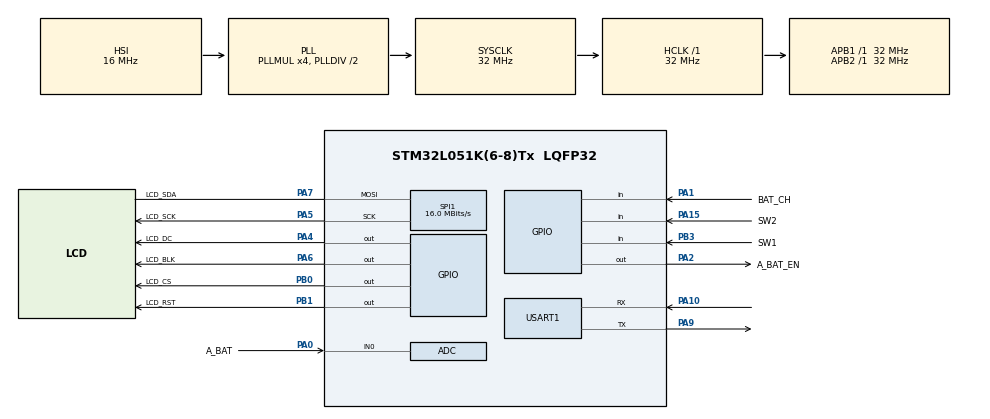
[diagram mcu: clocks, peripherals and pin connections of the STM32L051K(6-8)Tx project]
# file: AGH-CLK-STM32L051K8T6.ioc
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ADC.ClockPrescaler=ADC_CLOCK_ASYNC_DIV64
ADC.LowPowerAutoPowerOff=ENABLE
ADC.Overrun=ADC_OVR_DATA_OVERWRITTEN
ADC.SamplingTime=ADC_SAMPLETIME_160CYCLES_5
Dma.Request0=SPI1_TX
Dma.Request1=SPI1_RX
Dma.SPI1_RX.1.Direction=DMA_PERIPH_TO_MEMORY
Dma.SPI1_RX.1.Instance=DMA1_Channel2
Dma.SPI1_RX.1.MemDataAlignment=DMA_MDATAALIGN_WORD
Dma.SPI1_RX.1.MemInc=DMA_MINC_ENABLE
Dma.SPI1_RX.1.Mode=DMA_NORMAL
Dma.SPI1_RX.1.PeriphDataAlignment=DMA_PDATAALIGN_HALFWORD
Dma.SPI1_RX.1.PeriphInc=DMA_PINC_DISABLE
Dma.SPI1_RX.1.Priority=DMA_PRIORITY_LOW
Dma.SPI1_TX.0.Direction=DMA_MEMORY_TO_PERIPH
Dma.SPI1_TX.0.Instance=DMA1_Channel3
Dma.SPI1_TX.0.MemDataAlignment=DMA_MDATAALIGN_HALFWORD
Dma.SPI1_TX.0.MemInc=DMA_MINC_ENABLE
Dma.SPI1_TX.0.Mode=DMA_NORMAL
Dma.SPI1_TX.0.PeriphDataAlignment=DMA_PDATAALIGN_HALFWORD
Dma.SPI1_TX.0.PeriphInc=DMA_PINC_DISABLE
Dma.SPI1_TX.0.Priority=DMA_PRIORITY_LOW
Mcu.Family=STM32L0
Mcu.Name=STM32L051K(6-8)Tx
Mcu.Package=LQFP32
NVIC.DMA1_Channel2_3_IRQn=true\:0\:0\:false\:false\:true\:false\:true\:true
NVIC.RCC_IRQn=true\:0\:0\:true\:false\:true\:true\:false\:false
PA0.GPIO_Label=A_BAT
PA0.Mode=IN0
PA0.Signal=ADC_IN0
PA1.GPIO_Label=BAT_CH
PA1.Signal=GPIO_Input
PA10.Mode=Asynchronous
PA10.Signal=USART1_RX
PA13.Mode=Serial_Wire
PA13.Signal=SYS_SWDIO
PA14.Mode=Serial_Wire
PA14.Signal=SYS_SWCLK
PA15.GPIO_Label=SW2
PA15.Signal=GPIO_Input
PA2.GPIO_Label=A_BAT_EN
PA2.PinState=GPIO_PIN_SET
PA2.Signal=GPIO_Output
PA4.GPIO_Label=LCD_DC
PA4.GPIO_Speed=GPIO_SPEED_FREQ_VERY_HIGH
PA4.Signal=GPIO_Output
PA5.GPIO_Label=LCD_SCK
PA5.Mode=Simplex_Bidirectional_Master
PA5.Signal=SPI1_SCK
PA6.GPIO_Label=LCD_BLK
PA6.PinState=GPIO_PIN_SET
PA6.Signal=GPIO_Output
PA7.GPIO_Label=LCD_SDA
PA7.Mode=Simplex_Bidirectional_Master
PA7.Signal=SPI1_MOSI
PA9.Mode=Asynchronous
PA9.Signal=USART1_TX
PB0.GPIO_Label=LCD_CS
PB0.GPIO_Speed=GPIO_SPEED_FREQ_VERY_HIGH
PB0.Signal=GPIO_Output
PB1.GPIO_Label=LCD_RST
PB1.Signal=GPIO_Output
PB3.GPIO_Label=SW1
PB3.Signal=GPIO_Input
PC14-OSC32_IN.Mode=LSE-External-Oscillator
PC14-OSC32_IN.Signal=RCC_OSC32_IN
PC15-OSC32_OUT.Mode=LSE-External-Oscillator
PC15-OSC32_OUT.Signal=RCC_OSC32_OUT
ProjectManager.HeapSize=0x200
ProjectManager.StackSize=0x400
ProjectManager.TargetToolchain=STM32CubeIDE
RCC.ADCFreq_Value=16000000
RCC.AHBFreq_Value=32000000
RCC.APB1Freq_Value=32000000
RCC.APB1TimFreq_Value=32000000
RCC.APB2Freq_Value=32000000
RCC.APB2TimFreq_Value=32000000
RCC.HCLKFreq_Value=32000000
RCC.HSI16_VALUE=16000000
RCC.HSI_VALUE=16000000
RCC.MSIClockRange=RCC_MSIRANGE_6
RCC.MSI_VALUE=4194000
RCC.PLLMUL=RCC_PLLMUL_4
RCC.PWR_Regulator_Voltage_Scale=PWR_REGULATOR_VOLTAGE_SCALE1
RCC.RTCClockSelectionVirtual=RCC_RTCCLKSOURCE_LSE
RCC.SYSCLKFreq_VALUE=32000000
RCC.SYSCLKSource=RCC_SYSCLKSOURCE_PLLCLK
RCC.VCOOutputFreq_Value=64000000
RTC.Date=10
RTC.Format=RTC_FORMAT_BIN
RTC.Hours=0
RTC.Minutes=41
RTC.Seconds=55
RTC.WeekDay=RTC_WEEKDAY_TUESDAY
RTC.Year=23
SPI1.BaudRatePrescaler=SPI_BAUDRATEPRESCALER_2
SPI1.CLKPhase=SPI_PHASE_2EDGE
SPI1.CLKPolarity=SPI_POLARITY_HIGH
SPI1.CalculateBaudRate=16.0 MBits/s
SPI1.Direction=SPI_DIRECTION_1LINE
SPI1.Mode=SPI_MODE_MASTER
SPI1.VirtualType=VM_MASTER
USART1.VirtualMode-Asynchronous=VM_ASYNC
VP_RTC_VS_RTC_Activate.Mode=RTC_Enabled
VP_RTC_VS_RTC_Calendar.Mode=RTC_Calendar
board=custom

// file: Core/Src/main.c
/* USER CODE BEGIN Header */
/**
  ******************************************************************************
  * @file           : main.c
  * @brief          : Main program body
  ******************************************************************************
  * @attention
  *
  * Copyright (c) 2022 STMicroelectronics.
  * All rights reserved.
  *
  * This software is licensed under terms that can be found in the LICENSE file
  * in the root directory of this software component.
  * If no LICENSE file comes with this software, it is provided AS-IS.
  *
  ******************************************************************************
  */
/* USER CODE END Header */
#include "main.h"

/* USER CODE BEGIN Includes */
#include "lcd.h"
#include <math.h>
#include <stdio.h>
/* USER CODE END Includes */

/* USER CODE BEGIN PTD */
typedef struct
{
	UG_COLOR s_pri;
	UG_COLOR s_sec;
	UG_COLOR m_pri;
	UG_COLOR m_sec;
	UG_COLOR h_pri;
	UG_COLOR h_sec;
	UG_COLOR t_dig;
	UG_COLOR d_dig;
} COLOR_T;
/* USER CODE END PTD */

ADC_HandleTypeDef hadc;

RTC_HandleTypeDef hrtc;

SPI_HandleTypeDef hspi1;
DMA_HandleTypeDef hdma_spi1_tx;
DMA_HandleTypeDef hdma_spi1_rx;

UART_HandleTypeDef huart1;

/* USER CODE BEGIN PV */
WATCH_HAND_T watchHand[3][60];
RTC_TimeTypeDef time;
RTC_DateTypeDef date;
COLOR_T color;
uint8_t reloadCol;
KEYBOARD_T keyboard;
uint32_t measBat;
uint8_t measRequest;
MODE_T mode;

/* USER CODE END PV */

void SystemClock_Config(void);
static void MX_GPIO_Init(void);
static void MX_DMA_Init(void);
static void MX_ADC_Init(void);
static void MX_RTC_Init(void);
static void MX_SPI1_Init(void);
static void MX_USART1_UART_Init(void);
/* USER CODE BEGIN PFP */

//Display
void DrawHand(WATCH_HAND_T* h, uint16_t col);
void SetHandDisplay(WATCH_HAND_T* h, uint8_t pos, uint8_t cnt, uint16_t primCol, uint16_t secCol);
void RefreshClock();

//ADC
void GetBatteryMeas(uint32_t * meas, uint8_t *cond);

//Keyboard
uint8_t KeyPressed(uint8_t* key);
uint8_t KeyHolded(uint32_t* key, uint32_t time);
uint8_t KeysHolded(uint32_t time);

//RTC
void SetTimeDate();

//MISC
void InitHandsCoords();
void ChangeColor(UG_COLOR s_pri, UG_COLOR s_sec, UG_COLOR m_pri, UG_COLOR m_sec, UG_COLOR h_pri, UG_COLOR h_sec, UG_COLOR t_dig, UG_COLOR d_dig);
void SetColor();
void CheckRegularState();

/* USER CODE END PFP */

int main(void)
{

  /* MCU Configuration--------------------------------------------------------*/

  /* Reset of all peripherals, Initializes the Flash interface and the Systick. */
  HAL_Init();

  /* Configure the system clock */
  SystemClock_Config();

  /* Initialize all configured peripherals */
  MX_GPIO_Init();
  MX_DMA_Init();
  MX_ADC_Init();
  MX_RTC_Init();
  MX_SPI1_Init();
  MX_USART1_UART_Init();
  /* USER CODE BEGIN 2 */
  measRequest = 1;
  LCD_init();
  HAL_ADCEx_Calibration_Start(&hadc, ADC_SINGLE_ENDED);
  InitHandsCoords();
  /* USER CODE END 2 */

  /* Infinite loop */
  /* USER CODE BEGIN WHILE */
  while (1)
  {
	  HAL_RTC_GetTime(&hrtc, &time, RTC_FORMAT_BIN);
	  HAL_RTC_GetDate(&hrtc, &date, RTC_FORMAT_BIN);
	  GetBatteryMeas(&measBat, &measRequest);
	  SetColor();
	  RefreshClock();
	  SetTimeDate();
	  CheckRegularState();

    /* USER CODE END WHILE */

  }
}

void SystemClock_Config(void)
{
  RCC_OscInitTypeDef RCC_OscInitStruct = {0};
  RCC_ClkInitTypeDef RCC_ClkInitStruct = {0};
  RCC_PeriphCLKInitTypeDef PeriphClkInit = {0};

  /** Configure the main internal regulator output voltage
  */
  __HAL_PWR_VOLTAGESCALING_CONFIG(PWR_REGULATOR_VOLTAGE_SCALE1);

  /** Configure LSE Drive Capability
  */
  HAL_PWR_EnableBkUpAccess();
  __HAL_RCC_LSEDRIVE_CONFIG(RCC_LSEDRIVE_LOW);

  /** Initializes the RCC Oscillators according to the specified parameters
  * in the RCC_OscInitTypeDef structure.
  */
  RCC_OscInitStruct.OscillatorType = RCC_OSCILLATORTYPE_HSI|RCC_OSCILLATORTYPE_LSE;
  RCC_OscInitStruct.LSEState = RCC_LSE_ON;
  RCC_OscInitStruct.HSIState = RCC_HSI_ON;
  RCC_OscInitStruct.HSICalibrationValue = RCC_HSICALIBRATION_DEFAULT;
  RCC_OscInitStruct.PLL.PLLState = RCC_PLL_ON;
  RCC_OscInitStruct.PLL.PLLSource = RCC_PLLSOURCE_HSI;
  RCC_OscInitStruct.PLL.PLLMUL = RCC_PLLMUL_4;
  RCC_OscInitStruct.PLL.PLLDIV = RCC_PLLDIV_2;
  if (HAL_RCC_OscConfig(&RCC_OscInitStruct) != HAL_OK)
  {
    Error_Handler();
  }

  /** Initializes the CPU, AHB and APB buses clocks
  */
  RCC_ClkInitStruct.ClockType = RCC_CLOCKTYPE_HCLK|RCC_CLOCKTYPE_SYSCLK
                              |RCC_CLOCKTYPE_PCLK1|RCC_CLOCKTYPE_PCLK2;
  RCC_ClkInitStruct.SYSCLKSource = RCC_SYSCLKSOURCE_PLLCLK;
  RCC_ClkInitStruct.AHBCLKDivider = RCC_SYSCLK_DIV1;
  RCC_ClkInitStruct.APB1CLKDivider = RCC_HCLK_DIV1;
  RCC_ClkInitStruct.APB2CLKDivider = RCC_HCLK_DIV1;

  if (HAL_RCC_ClockConfig(&RCC_ClkInitStruct, FLASH_LATENCY_1) != HAL_OK)
  {
    Error_Handler();
  }
  PeriphClkInit.PeriphClockSelection = RCC_PERIPHCLK_USART1|RCC_PERIPHCLK_RTC;
  PeriphClkInit.Usart1ClockSelection = RCC_USART1CLKSOURCE_PCLK2;
  PeriphClkInit.RTCClockSelection = RCC_RTCCLKSOURCE_LSE;
  if (HAL_RCCEx_PeriphCLKConfig(&PeriphClkInit) != HAL_OK)
  {
    Error_Handler();
  }
}

static void MX_ADC_Init(void)
{

  ADC_ChannelConfTypeDef sConfig = {0};

  /** Configure the global features of the ADC (Clock, Resolution, Data Alignment and number of conversion)
  */
  hadc.Instance = ADC1;
  hadc.Init.OversamplingMode = DISABLE;
  hadc.Init.ClockPrescaler = ADC_CLOCK_ASYNC_DIV64;
  hadc.Init.Resolution = ADC_RESOLUTION_12B;
  hadc.Init.SamplingTime = ADC_SAMPLETIME_160CYCLES_5;
  hadc.Init.ScanConvMode = ADC_SCAN_DIRECTION_FORWARD;
  hadc.Init.DataAlign = ADC_DATAALIGN_RIGHT;
  hadc.Init.ContinuousConvMode = DISABLE;
  hadc.Init.DiscontinuousConvMode = DISABLE;
  hadc.Init.ExternalTrigConvEdge = ADC_EXTERNALTRIGCONVEDGE_NONE;
  hadc.Init.ExternalTrigConv = ADC_SOFTWARE_START;
  hadc.Init.DMAContinuousRequests = DISABLE;
  hadc.Init.EOCSelection = ADC_EOC_SINGLE_CONV;
  hadc.Init.Overrun = ADC_OVR_DATA_OVERWRITTEN;
  hadc.Init.LowPowerAutoWait = DISABLE;
  hadc.Init.LowPowerFrequencyMode = ENABLE;
  hadc.Init.LowPowerAutoPowerOff = ENABLE;
  if (HAL_ADC_Init(&hadc) != HAL_OK)
  {
    Error_Handler();
  }

  /** Configure for the selected ADC regular channel to be converted.
  */
  sConfig.Channel = ADC_CHANNEL_0;
  sConfig.Rank = ADC_RANK_CHANNEL_NUMBER;
  if (HAL_ADC_ConfigChannel(&hadc, &sConfig) != HAL_OK)
  {
    Error_Handler();
  }

}

static void MX_RTC_Init(void)
{

  RTC_TimeTypeDef sTime = {0};
  RTC_DateTypeDef sDate = {0};

  /** Initialize RTC Only
  */
  hrtc.Instance = RTC;
  hrtc.Init.HourFormat = RTC_HOURFORMAT_24;
  hrtc.Init.AsynchPrediv = 127;
  hrtc.Init.SynchPrediv = 255;
  hrtc.Init.OutPut = RTC_OUTPUT_DISABLE;
  hrtc.Init.OutPutRemap = RTC_OUTPUT_REMAP_NONE;
  hrtc.Init.OutPutPolarity = RTC_OUTPUT_POLARITY_HIGH;
  hrtc.Init.OutPutType = RTC_OUTPUT_TYPE_OPENDRAIN;
  if (HAL_RTC_Init(&hrtc) != HAL_OK)
  {
    Error_Handler();
  }

  /** Initialize RTC and set the Time and Date
  */
  sTime.Hours = 0;
  sTime.Minutes = 41;
  sTime.Seconds = 55;
  sTime.DayLightSaving = RTC_DAYLIGHTSAVING_NONE;
  sTime.StoreOperation = RTC_STOREOPERATION_RESET;
  if (HAL_RTC_SetTime(&hrtc, &sTime, RTC_FORMAT_BIN) != HAL_OK)
  {
    Error_Handler();
  }
  sDate.WeekDay = RTC_WEEKDAY_TUESDAY;
  sDate.Month = RTC_MONTH_JANUARY;
  sDate.Date = 10;
  sDate.Year = 23;

  if (HAL_RTC_SetDate(&hrtc, &sDate, RTC_FORMAT_BIN) != HAL_OK)
  {
    Error_Handler();
  }

}

static void MX_SPI1_Init(void)
{

  /* SPI1 parameter configuration*/
  hspi1.Instance = SPI1;
  hspi1.Init.Mode = SPI_MODE_MASTER;
  hspi1.Init.Direction = SPI_DIRECTION_1LINE;
  hspi1.Init.DataSize = SPI_DATASIZE_8BIT;
  hspi1.Init.CLKPolarity = SPI_POLARITY_HIGH;
  hspi1.Init.CLKPhase = SPI_PHASE_2EDGE;
  hspi1.Init.NSS = SPI_NSS_SOFT;
  hspi1.Init.BaudRatePrescaler = SPI_BAUDRATEPRESCALER_2;
  hspi1.Init.FirstBit = SPI_FIRSTBIT_MSB;
  hspi1.Init.TIMode = SPI_TIMODE_DISABLE;
  hspi1.Init.CRCCalculation = SPI_CRCCALCULATION_DISABLE;
  hspi1.Init.CRCPolynomial = 7;
  if (HAL_SPI_Init(&hspi1) != HAL_OK)
  {
    Error_Handler();
  }

}

static void MX_USART1_UART_Init(void)
{

  huart1.Instance = USART1;
  huart1.Init.BaudRate = 115200;
  huart1.Init.WordLength = UART_WORDLENGTH_8B;
  huart1.Init.StopBits = UART_STOPBITS_1;
  huart1.Init.Parity = UART_PARITY_NONE;
  huart1.Init.Mode = UART_MODE_TX_RX;
  huart1.Init.HwFlowCtl = UART_HWCONTROL_NONE;
  huart1.Init.OverSampling = UART_OVERSAMPLING_16;
  huart1.Init.OneBitSampling = UART_ONE_BIT_SAMPLE_DISABLE;
  huart1.AdvancedInit.AdvFeatureInit = UART_ADVFEATURE_NO_INIT;
  if (HAL_UART_Init(&huart1) != HAL_OK)
  {
    Error_Handler();
  }

}

static void MX_DMA_Init(void)
{

  /* DMA controller clock enable */
  __HAL_RCC_DMA1_CLK_ENABLE();

  /* DMA interrupt init */
  /* DMA1_Channel2_3_IRQn interrupt configuration */
  HAL_NVIC_SetPriority(DMA1_Channel2_3_IRQn, 0, 0);
  HAL_NVIC_EnableIRQ(DMA1_Channel2_3_IRQn);

}

static void MX_GPIO_Init(void)
{
  GPIO_InitTypeDef GPIO_InitStruct = {0};

  /* GPIO Ports Clock Enable */
  __HAL_RCC_GPIOC_CLK_ENABLE();
  __HAL_RCC_GPIOA_CLK_ENABLE();
  __HAL_RCC_GPIOB_CLK_ENABLE();

  /*Configure GPIO pin Output Level */
  HAL_GPIO_WritePin(GPIOA, A_BAT_EN_Pin|LCD_BLK_Pin, GPIO_PIN_SET);

  /*Configure GPIO pin Output Level */
  HAL_GPIO_WritePin(LCD_DC_GPIO_Port, LCD_DC_Pin, GPIO_PIN_RESET);

  /*Configure GPIO pin Output Level */
  HAL_GPIO_WritePin(GPIOB, LCD_CS_Pin|LCD_RST_Pin, GPIO_PIN_RESET);

  /*Configure GPIO pins : BAT_CH_Pin SW2_Pin */
  GPIO_InitStruct.Pin = BAT_CH_Pin|SW2_Pin;
  GPIO_InitStruct.Mode = GPIO_MODE_INPUT;
  GPIO_InitStruct.Pull = GPIO_NOPULL;
  HAL_GPIO_Init(GPIOA, &GPIO_InitStruct);

  /*Configure GPIO pins : A_BAT_EN_Pin LCD_BLK_Pin */
  GPIO_InitStruct.Pin = A_BAT_EN_Pin|LCD_BLK_Pin;
  GPIO_InitStruct.Mode = GPIO_MODE_OUTPUT_PP;
  GPIO_InitStruct.Pull = GPIO_NOPULL;
  GPIO_InitStruct.Speed = GPIO_SPEED_FREQ_LOW;
  HAL_GPIO_Init(GPIOA, &GPIO_InitStruct);

  /*Configure GPIO pin : LCD_DC_Pin */
  GPIO_InitStruct.Pin = LCD_DC_Pin;
  GPIO_InitStruct.Mode = GPIO_MODE_OUTPUT_PP;
  GPIO_InitStruct.Pull = GPIO_NOPULL;
  GPIO_InitStruct.Speed = GPIO_SPEED_FREQ_VERY_HIGH;
  HAL_GPIO_Init(LCD_DC_GPIO_Port, &GPIO_InitStruct);

  /*Configure GPIO pin : LCD_CS_Pin */
  GPIO_InitStruct.Pin = LCD_CS_Pin;
  GPIO_InitStruct.Mode = GPIO_MODE_OUTPUT_PP;
  GPIO_InitStruct.Pull = GPIO_NOPULL;
  GPIO_InitStruct.Speed = GPIO_SPEED_FREQ_VERY_HIGH;
  HAL_GPIO_Init(LCD_CS_GPIO_Port, &GPIO_InitStruct);

  /*Configure GPIO pin : LCD_RST_Pin */
  GPIO_InitStruct.Pin = LCD_RST_Pin;
  GPIO_InitStruct.Mode = GPIO_MODE_OUTPUT_PP;
  GPIO_InitStruct.Pull = GPIO_NOPULL;
  GPIO_InitStruct.Speed = GPIO_SPEED_FREQ_LOW;
  HAL_GPIO_Init(LCD_RST_GPIO_Port, &GPIO_InitStruct);

  /*Configure GPIO pin : SW1_Pin */
  GPIO_InitStruct.Pin = SW1_Pin;
  GPIO_InitStruct.Mode = GPIO_MODE_INPUT;
  GPIO_InitStruct.Pull = GPIO_NOPULL;
  HAL_GPIO_Init(SW1_GPIO_Port, &GPIO_InitStruct);

}

/* USER CODE BEGIN 4 */
void DrawHand(WATCH_HAND_T* h, uint16_t col)
{
	UG_DrawLine(h->x1, h->y1, h->x2, h->y2, col);
}

void SetHandDisplay(WATCH_HAND_T* h, uint8_t pos, uint8_t cnt, uint16_t primCol, uint16_t secCol)
{
	for(uint8_t i=60; i>60-cnt; i--)
	{
		uint16_t col = (pos+i) % 5 == 0 ? primCol : secCol;
		DrawHand(&h[(pos+i)%60], LCD_ColorOpacity(col, (60-i)>>1));
	}
}

void GetBatteryMeas(uint32_t * meas, uint8_t* cond)
{
	if (!*cond)
	{
		return;
	}
	HAL_GPIO_WritePin(A_BAT_EN_GPIO_Port, A_BAT_EN_Pin, 1);
	HAL_Delay(1);	//to avoid adc measure during transient state;
	HAL_ADC_Start(&hadc);
	HAL_ADC_PollForConversion(&hadc, HAL_MAX_DELAY);
	*meas = HAL_ADC_GetValue(&hadc) * VREF * ADC_V_DIV / ADC_DIV;
	HAL_GPIO_WritePin(A_BAT_EN_GPIO_Port, A_BAT_EN_Pin, 0);
	*cond = 0;
	return;
}

void InitHandsCoords()
{
	uint8_t i = 0, j = 0, z = 0;
	for(z=0; z<3; z++)
	{
		for(j=0; j<60; j++)
		{
			i = ((j % 5) == 0) ? 0 : 10;
			watchHand[z][j].x1 = 120 + (70+z*25)*sin((j%60)*2*M_PI/60);
			watchHand[z][j].y1 = 120 - (70+z*25)*cos((j%60)*2*M_PI/60);
			watchHand[z][j].x2 = 120 + (50+i+z*25)*sin((j%60)*2*M_PI/60);
			watchHand[z][j].y2 = 120 - (50+i+z*25)*cos((j%60)*2*M_PI/60);
		}
	}
}

void ChangeColor(UG_COLOR s_pri, UG_COLOR s_sec, UG_COLOR m_pri, UG_COLOR m_sec, UG_COLOR h_pri, UG_COLOR h_sec, UG_COLOR t_dig, UG_COLOR d_dig)
{
	color.s_pri = s_pri;
	color.s_sec = s_sec;
	color.m_pri = m_pri;
	color.m_sec = m_sec;
	color.h_pri = h_pri;
	color.h_sec = h_sec;
	color.t_dig = t_dig;
	color.d_dig = d_dig;
}

void SetColor()
{
	switch (mode)
	{
									   //sec_pri |sec_sec |min_pri |min_sec |hour_pri|hour_sec|time_dig|date_dig
		case regular:        ChangeColor(C_WHITE, C_BLUE,  C_WHITE, C_WHITE, C_WHITE, C_BLUE,  C_WHITE, C_WHITE); break;
		case reg_bat_low:    ChangeColor(C_WHITE, C_ORANGE,C_WHITE, C_WHITE, C_WHITE, C_ORANGE,C_WHITE, C_WHITE); break;
		case reg_discharged: ChangeColor(C_WHITE, C_RED,   C_WHITE, C_WHITE, C_WHITE, C_RED,   C_WHITE, C_WHITE); break;
		case reg_charging:   ChangeColor(C_WHITE, C_YELLOW,C_WHITE, C_WHITE, C_WHITE, C_YELLOW,C_WHITE, C_WHITE); break;
		case reg_bat_full:   ChangeColor(C_WHITE, C_GREEN, C_WHITE, C_WHITE, C_WHITE, C_GREEN, C_WHITE, C_WHITE); break;
		case set_hour:       ChangeColor(C_BLACK, C_BLACK, C_BLACK, C_BLACK, C_WHITE, C_WHITE, C_WHITE, C_BLACK); break;
		case set_minute:     ChangeColor(C_BLACK, C_BLACK, C_WHITE, C_WHITE, C_BLACK, C_BLACK, C_WHITE, C_BLACK); break;
		case set_second:     ChangeColor(C_WHITE, C_WHITE, C_BLACK, C_BLACK, C_BLACK, C_BLACK, C_WHITE, C_BLACK); break;
		case set_day:        ChangeColor(C_BLACK, C_BLACK, C_BLACK, C_BLACK, C_BLACK, C_BLACK, C_BLACK, C_WHITE); break;
		case set_month:      ChangeColor(C_BLACK, C_BLACK, C_BLACK, C_BLACK, C_BLACK, C_BLACK, C_BLACK, C_WHITE); break;
		case set_year:  	 ChangeColor(C_BLACK, C_BLACK, C_BLACK, C_BLACK, C_BLACK, C_BLACK, C_BLACK, C_WHITE); break;
	}
}

uint8_t KeyPressed(uint8_t* key)
{
	uint8_t t = *key;
	*key = 0;
	return t;
}

uint8_t KeyHolded(uint32_t* key, uint32_t time)
{
	uint8_t t = *key >= time ? 1 : 0;
	if (t) *key = 0;
	return t;
}

uint8_t KeysHolded(uint32_t time)
{
	static uint8_t t;
	t = 0;
	if(keyboard.l_hold >= time && keyboard.r_hold >= time)
	{
		keyboard.l_hold = 0;
		keyboard.r_hold = 0;
		t = 1;
	}
	return t;
}

void RefreshClock()
{
	static struct
	{
		uint8_t sec;
		uint8_t min;
		uint8_t hour;
		uint8_t day;
		uint8_t mth;
		uint8_t year;
	} change;

	static uint8_t hourPos;
	static RTC_TimeTypeDef time_old;
	static RTC_DateTypeDef date_old;
	static MODE_T mode_old;

	static char dateDisplay[9];
	static char timeDisplay[6];

	change.sec  = (time_old.Seconds == time.Seconds) ? 0 : 1;
	change.min  = (time_old.Minutes == time.Minutes) ? 0 : 1;
	change.hour = (time_old.Hours   == time.Hours)   ? 0 : 1;
	change.day  = (date_old.Date    == date.Date)    ? 0 : 1;
	change.mth  = (date_old.Month   == date.Month)   ? 0 : 1;
	change.year = (date_old.Year    == date.Year)    ? 0 : 1;

	if(mode_old != mode)
	{
		change.sec = 1;
		change.min = 1;
		change.hour = 1;
		change.day = 1;
		change.mth = 1;
		change.year = 1;
		mode_old = mode;
	}

	if (!(change.sec || change.min || change.hour || change.day || change.mth || change.year))
	{
		return;
	}

	hourPos = ((time.Hours%12)*5) + (time.Minutes/12);

	//fast reload - only one watch hand
	if (change.sec)
	{
		SetHandDisplay(watchHand[SEC], time.Seconds, 1, color.s_pri, color.s_sec);
	}
	if (change.min)
	{
		SetHandDisplay(watchHand[MIN], time.Minutes, 1, color.m_pri, color.m_sec);
	}
	if (change.hour)
	{
		SetHandDisplay(watchHand[HOUR], hourPos, 1, color.h_pri, color.h_sec);
	}

	if (change.min || change.hour)
	{
		sprintf(timeDisplay, "%02d:%02d", time.Hours, time.Minutes);
		LCD_PutStr(89, 95, timeDisplay, FONT_arial_25X28, LCD_ColorOpacity(color.t_dig, 7), C_BLACK);
	}
	if (change.day || change.mth || change.year)
	{
		sprintf(dateDisplay, "%02d.%02d.%02d", date.Date, date.Month, date.Year);
		LCD_PutStr(89, 130, dateDisplay, FONT_arial_16X18, LCD_ColorOpacity(color.d_dig, 5), C_BLACK);
	}

	//slow reload - rest of watch hands
	if (change.sec)
	{
		SetHandDisplay(watchHand[SEC], time.Seconds, 60, color.s_pri, color.s_sec);
	}
	if (change.min)
	{
		SetHandDisplay(watchHand[MIN], time.Minutes, 60, color.m_pri, color.m_sec);
	}
	if (change.hour)
	{
		SetHandDisplay(watchHand[HOUR], hourPos, 60, color.h_pri, color.h_sec);
	}

	time_old.Seconds = time.Seconds;
	time_old.Minutes = time.Minutes;
	time_old.Hours = time.Hours;
	date_old.Date = date.Date;
	date_old.Month = date.Month;
	date_old.Year = date.Year;

	return;
}

void SetTimeDate()
{
	static uint8_t* curr_p;
	static MODE_T mode_old;
	static uint8_t mod;
	static uint8_t setTimeFlag;
	static enum
	{
		hour,
		min,
		sec,
		day,
		month,
		year
	} num = hour;

	if (KeysHolded(100))
	{
		setTimeFlag = 1;
	}

	if (!setTimeFlag)
	{
		mode_old = mode;
		return;
	}

	switch(num)
	{
		case hour:  curr_p = &time.Hours;   mod = 24; break;
		case min:   curr_p = &time.Minutes; mod = 60; break;
		case sec:   curr_p = &time.Seconds; mod = 60; break;
		case day:   curr_p = &date.Date;    mod = 31; break;
		case month: curr_p = &date.Month;   mod = 12; break;
		case year:  curr_p = &date.Year;	mod = 99; break;
		default: curr_p = NULL;
	}

	if(*curr_p == 0)
	{
		*curr_p = mod;
	}
	*curr_p = (*curr_p + KeyPressed(&keyboard.l_press) - KeyPressed(&keyboard.r_press)) % mod;

	HAL_RTC_SetTime(&hrtc, &time, RTC_FORMAT_BIN);
	HAL_RTC_SetDate(&hrtc, &date, RTC_FORMAT_BIN);

	if (!KeysHolded(50))
	{
		mode = set_hour + num;
		return;
	}
	UG_DrawLine(89, 150, 151, 150, C_BLACK);
	if (num == year)
	{
		num = 0;
		setTimeFlag = 0;
		mode = mode_old;
		return;
	}
	else
	{
		num++;
		mode = set_hour + num;
		if (mode == set_day)
		{
			UG_DrawLine(89, 150, 107, 150, C_WHITE);
		}
		else if (mode == set_month)
		{
			UG_DrawLine(111, 150, 129, 150, C_WHITE);
		}
		else if (mode == set_year)
		{
			UG_DrawLine(131, 150, 151, 150, C_WHITE);
		}
		return;
	}
}

void CheckRegularState()
{
	static uint8_t isCharging;

	if (mode > reg_bat_full)
		return;
	isCharging = HAL_GPIO_ReadPin(BAT_CH_GPIO_Port, BAT_CH_Pin);

	if(isCharging == BATTERY_IS_CHARGING && measBat >= BATTERY_LIMIT_GREEN)
	{
		mode = reg_bat_full;
	}
	else if(isCharging == BATTERY_IS_CHARGING && measBat <  BATTERY_LIMIT_GREEN)
	{
		mode = reg_charging;
	}
	else if(isCharging != BATTERY_IS_CHARGING && measBat <  BATTERY_LIMIT_RED)
	{
		mode = reg_discharged;
	}
	else if(isCharging != BATTERY_IS_CHARGING && measBat <  BATTERY_LIMIT_ORANGE)
	{
		mode = reg_bat_low;
	}
	else
	{
		mode = regular;
	}
}

/* USER CODE END 4 */

void Error_Handler(void)
{
  __disable_irq();
  while (1)
  {
  }
}
